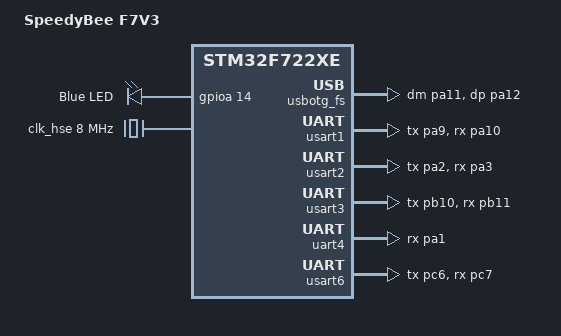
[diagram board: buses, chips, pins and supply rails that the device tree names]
/*
 * Copyright (c) 2024 Arthur Eichelberger
 *
 * SPDX-License-Identifier: Apache-2.0
 */

/dts-v1/;
#include <st/f7/stm32f722Xe.dtsi>
#include <st/f7/stm32f722r(c-e)tx-pinctrl.dtsi>

/ {
	model = "SpeedyBee F7V3";
	compatible = "spbe,speedybee_f7v3";

	chosen {
		zephyr,console = &cdc_acm_console_uart1;
		zephyr,shell-uart = &cdc_acm_console_uart1;
		zephyr,sram = &sram0;
		zephyr,flash = &flash0;
		zephyr,dtcm = &dtcm;
		zephyr,itcm = &itcm;
	};

	leds {
		compatible = "gpio-leds";
		blue_led: led_1 {
			gpios = <&gpioa 14 GPIO_ACTIVE_HIGH>;
			label = "Blue LED";
		};
	};

	aliases {
		led0 = &blue_led;
	};
};

&clk_hse {
	clock-frequency = <DT_FREQ_M(8)>;
	status = "okay";
};

&clk_hsi {
	status = "disabled";
};

&clk_lsi {
	status = "okay";
};

&pll {
	div-m = <8>;
	mul-n = <432>;
	div-p = <2>;
	div-q = <9>;
	clocks = <&clk_hse>;
	status = "okay";
};

&rcc {
	clocks = <&pll>;
	clock-frequency = <DT_FREQ_M(216)>;
	ahb-prescaler = <1>;
	apb1-prescaler = <4>;
	apb2-prescaler = <2>;
};

&dma1 {
	status = "okay";
};

&dma2 {
	status = "okay";
};

zephyr_udc0: &usbotg_fs {
	pinctrl-0 = <&usb_otg_fs_dm_pa11 &usb_otg_fs_dp_pa12>;
	pinctrl-names = "default";
	status = "okay";
	cdc_acm_console_uart1: cdc_acm_console_uart1 {
		compatible = "zephyr,cdc-acm-uart";
	};
};

&timers2 {
	dshot1: dshot {
		compatible = "st,stm32-dshot";
		pinctrl-0 = <&tim2_ch1_pa15 &tim2_ch2_pb3>;
		pinctrl-names = "default";
		dmas =  <&dma1 1 3 0x3D440 3>,
				<&dma1 5 3 0x3D440 0>,
				<&dma1 6 3 0x3D440 0>;
		dma-names = "up", "ch1", "ch2";
		default-type = <600>;
		use-dma-burst;
		#esc-cells = <1>;
		m1_dshot: ch1 {
			channel = <1>;
			status = "disabled";
		};
		m2_dshot: ch2 {
			channel = <2>;
			status = "disabled";
		};
		status = "disabled";
	};
};

&timers3 {
	dshot2: dshot {
		compatible = "st,stm32-dshot";
		pinctrl-0 = <&tim3_ch1_pb4 &tim3_ch2_pb5 &tim3_ch3_pb0 &tim3_ch4_pb1>;
		pinctrl-names = "default";
		dmas =  <&dma1 2 5 0x3D440 3>,
				<&dma1 4 5 0x3D440 0>,
				<&dma1 5 5 0x3D440 0>,
				<&dma1 7 5 0x3D440 0>,
				<&dma1 2 5 0x3D440 0>;
		dma-names = "up", "ch1", "ch2", "ch3", "ch4";
		default-type = <600>;
		use-dma-burst;
		#esc-cells = <1>;
		m3_dshot: ch1 {
			channel = <1>;
			status = "disabled";
		};
		m6_dshot: ch2 {
			channel = <2>;
			status = "disabled";
		};
		m7_dshot: ch3 {
			channel = <3>;
			status = "disabled";
		};
		m8_dshot: ch4 {
			channel = <4>;
			status = "disabled";
		};
		status = "disabled";
	};
};

&timers4 {
	dshot3: dshot {
		compatible = "st,stm32-dshot";
		pinctrl-0 = <&tim2_ch1_pa15 &tim2_ch2_pb3>;
		pinctrl-names = "default";
		dmas =  <&dma1 6 2 0x3D440 3>,
				<&dma1 3 2 0x3D440 0>,
				<&dma1 0 2 0x3D440 0>;
		dma-names = "up", "ch1", "ch2";
		default-type = <600>;
		use-dma-burst;
		#esc-cells = <1>;
		m4_dshot: ch1 {
			channel = <1>;
			status = "disabled";
		};
		m5_dshot: ch2 {
			channel = <2>;
			status = "disabled";
		};
		status = "disabled";
	};
};

&usart1 {
	pinctrl-0 = <&usart1_tx_pa9>, <&usart1_rx_pa10>;
	pinctrl-names = "default";
	dmas = <&dma2 7 4 0x400 3>, <&dma2 2 4 0x400 3>;
	dma-names = "tx", "rx";
	status = "okay";
};

&usart2 {
	pinctrl-0 = <&usart2_tx_pa2>, <&usart2_rx_pa3>;
	pinctrl-names = "default";
	status = "okay";
};

&usart3 {
	pinctrl-0 = <&usart3_tx_pb10>, <&usart3_rx_pb11>;
	pinctrl-names = "default";
	status = "okay";
};

&uart4 {
	pinctrl-0 = <&uart4_rx_pa1>;
	pinctrl-names = "default";
	status = "okay";
};

&usart6 {
	pinctrl-0 = <&usart6_tx_pc6>, <&usart6_rx_pc7>;
	pinctrl-names = "default";
	dmas = <&dma2 6 5 0x400 3>, <&dma2 1 5 0x400 3>;
	dma-names = "tx", "rx";
	status = "okay";
};
